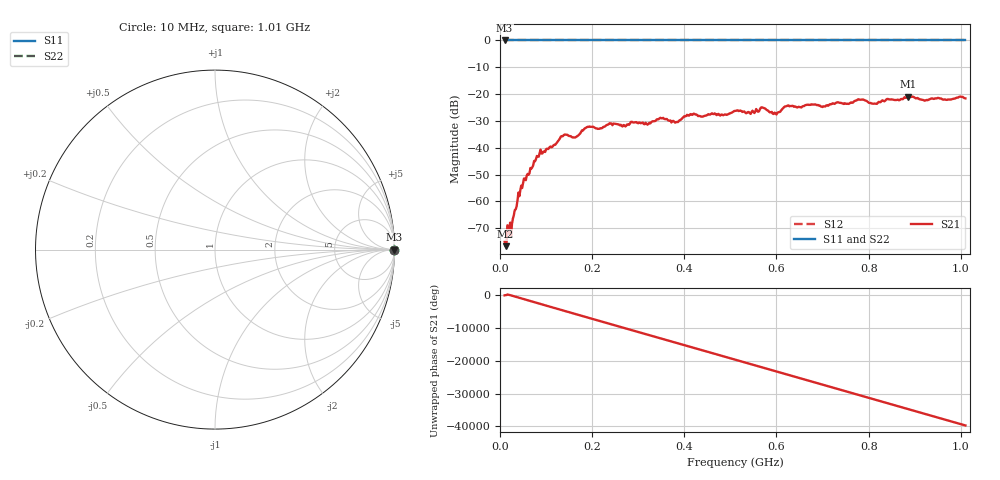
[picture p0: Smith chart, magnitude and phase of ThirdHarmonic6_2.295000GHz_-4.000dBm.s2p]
! 8/17/2025 3:04:24 AM
! C:\ANRITSUVNA\TEMP\TEMP.S2P
! CHANNEL.1
! TR.MEASUREMENT
! RAW.DATA
! RF.CORRECTION.OFF
! AVERAGING.OFF
! IF.BANDWIDTH: 5KHZ
! SWEEPTYPE:  FREQ.SWEEP(Linear)
! Reference Plane Port Info
! PORT:  PORT1  PORT2
! DISTANCE:  0  m  0  m
! TIME:  0  s  0  s
! PHASE.OFFSET:  0  deg.  0  deg.
! LOSS:  0  dB  0  dB
! REF.LOSS:  0  dB  0  dB
! REF.FREQ:  0  Hz  0  Hz
! Power Info
! POWER:  -20  dBm  -20  dBm
! EFF.POWER:  -20  dBm  -20  dBm
! SOURCE.ATTEN:  0  dB  0  dB
! TEST.ATTEN:  0  dB  0  dB
# GHZ S RI R 50.0
! FREQ.GHZ  S11RE  S11IM  S21RE  S21IM  S12RE  S12IM  S22RE  S22IM
!; PortSelection: Port_12
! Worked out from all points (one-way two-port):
!   501 points, 10 MHz to 1.01 GHz, reference 50 ohm
!   highest |S21| = -20.91 dB at 886 MHz (marker M1); lowest = -76.7 dB at 12 MHz (marker M2)
!   lowest |S11| = 0.0 dB at 10 MHz (marker M3)
!   |S11| at or under -10 dB: nowhere
!   |S22| runs from 0.0 to 0.0 dB; largest |S21 - S12| = 1.1
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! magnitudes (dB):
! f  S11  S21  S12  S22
! 10 MHz  0.0  -74.9  0.0  0.0
! 12 MHz  0.0  -76.7  0.0  0.0
! 24 MHz  0.0  -72.8  0.0  0.0
! 48 MHz  0.0  -55.0  0.0  0.0
! 84 MHz  0.0  -43.3  0.0  0.0
! 136 MHz  0.0  -35.7  0.0  0.0
! 162 MHz  0.0  -36.2  0.0  0.0
! 178 MHz  0.0  -33.5  0.0  0.0
! 344 MHz  0.0  -29.4  0.0  0.0
! 384 MHz  0.0  -30.4  0.0  0.0
! 410 MHz  0.0  -28.0  0.0  0.0
! 510 MHz  0.0  -26.2  0.0  0.0
! 540 MHz  0.0  -26.7  0.0  0.0
! 570 MHz  0.0  -25.0  0.0  0.0
! 596 MHz  0.0  -26.9  0.0  0.0
! 622 MHz  0.0  -24.5  0.0  0.0
! 678 MHz  0.0  -23.9  0.0  0.0
! 782 MHz  0.0  -22.1  0.0  0.0
! 814 MHz  0.0  -23.5  0.0  0.0
! 844 MHz  0.0  -22.0  0.0  0.0
! 886 MHz  0.0  -20.9  0.0  0.0
! 1.01 GHz  0.0  -21.6  0.0  0.0
